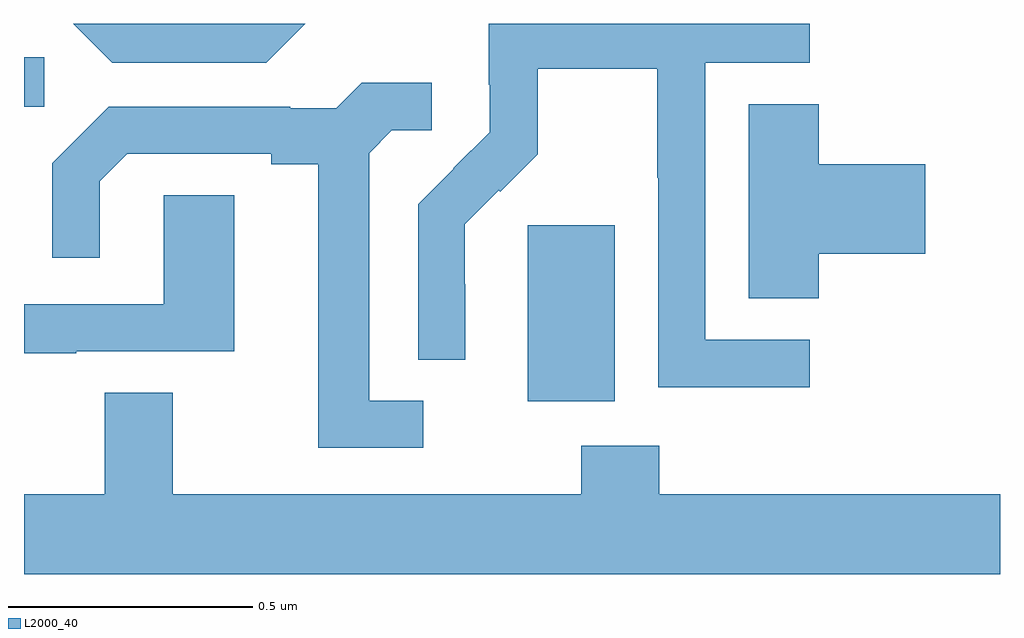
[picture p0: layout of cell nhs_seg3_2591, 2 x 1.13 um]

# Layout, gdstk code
import gdstk
lib = gdstk.Library(unit=1e-6, precision=1e-09)
def R(c, l, rs):  # rectangles x0, y0, x1, y1
    for r in rs: c.add(gdstk.rectangle(r[:2], r[2:], *l))
def P(c, l, *ps):  # polygons
    for p in ps: c.add(gdstk.Polygon(p, *l))
L2000_40 = (2000, 40)

nhs_seg3_2591 = lib.new_cell('nhs_seg3_2591')
R(nhs_seg3_2591, L2000_40, [(144.032,678.626,144.211,678.987), (143,679.23,143.041,679.331)])
P(nhs_seg3_2591, L2000_40, [(143.576,679.4),(143.101,679.4),(143.181,679.32),(143.496,679.32)],
  [(144.61,678.753),(144.396,678.753),(144.396,679.32),(144.61,679.32),(144.61,679.4),(143.952,679.4),(143.952,679.275),(143.954,679.275),(143.954,679.178),(143.88,679.104),(143.881,679.103),(143.808,679.03),(143.808,678.712),(143.904,678.712),(143.904,678.866),(143.903,678.866),(143.903,678.989),(143.973,679.059),(143.976,679.056),(144.053,679.133),(144.053,679.308),(144.298,679.308),(144.298,679.084),(144.3,679.084),(144.3,678.655),(144.61,678.655)],
  [(143.818,678.627),(143.707,678.627),(143.707,679.135),(143.754,679.182),(143.836,679.182),(143.836,679.279),(143.692,679.279),(143.64,679.227),(143.546,679.227),(143.546,679.23),(143.174,679.23),(143.058,679.114),(143.058,678.921),(143.155,678.921),(143.155,679.077),(143.212,679.134),(143.507,679.134),(143.507,679.112),(143.603,679.112),(143.603,678.531),(143.818,678.531)],
  [(144.629,678.929),(144.847,678.929),(144.847,679.112),(144.629,679.112),(144.629,679.235),(144.485,679.235),(144.485,678.838),(144.629,678.838)],
  [(143.107,678.729),(143.431,678.729),(143.431,679.049),(143.286,679.049),(143.286,678.825),(143,678.825),(143,678.725),(143.107,678.725)],
  [(145,678.436),(144.302,678.436),(144.302,678.535),(144.142,678.535),(144.142,678.436),(143.305,678.436),(143.305,678.644),(143.165,678.644),(143.165,678.436),(143,678.436),(143,678.272),(145,678.272)])

lib.write_gds('nhs_seg3_2591.gds')
